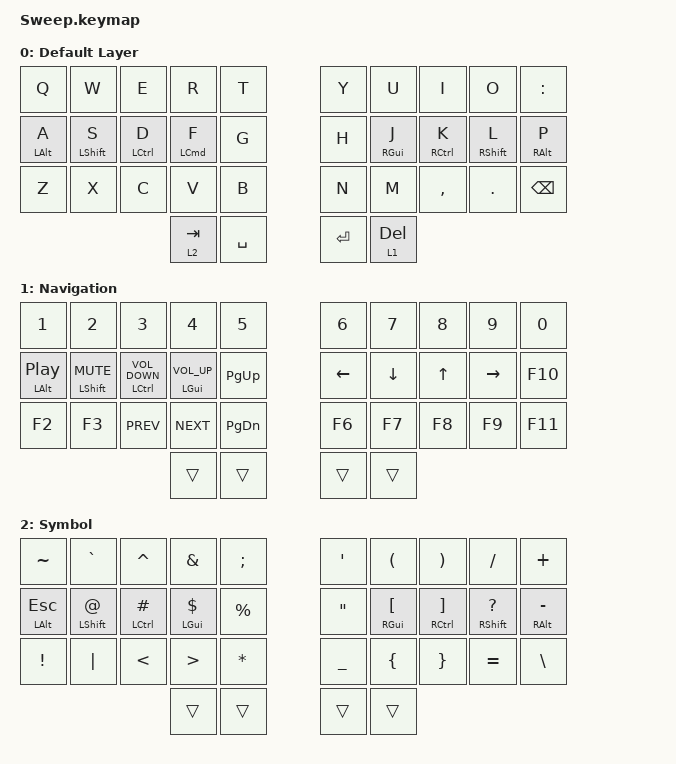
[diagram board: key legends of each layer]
/*
 * Copyright (c) 2020 The ZMK Contributors
 *
 * SPDX-License-Identifier: MIT
 */

#include <input/processors.dtsi>
#include <zephyr/dt-bindings/input/input-event-codes.h>
#include <dt-bindings/zmk/mouse.h>
#include <behaviors/mouse_keys.dtsi>
#include <behaviors.dtsi>
#include <dt-bindings/zmk/keys.h>
#include <dt-bindings/zmk/pointing.h>

#define ZMK_POINTING_DEFAULT_MOVE_VAL 1200  // 600
#define ZMK_POINTING_DEFAULT_SCRL_VAL 900   // mousescroll SPEED

&mmv_input_listener { input-processors = <&zip_xy_scaler 2 1>; };

&msc_input_listener { input-processors = <&zip_scroll_scaler 2 1>; };

&msc {
    acceleration-exponent = <1>;      // 0
    time-to-max-speed-ms = <100>;       // 300
    delay-ms = <0>;                   // 0
};

&mmv {
    time-to-max-speed-ms = <500>;
    acceleration-exponent = <1>;
    trigger-period-ms = <16>;
};

&soft_off {
    hold-time-ms = <3000>; // Only turn off it the key is held for 3 seconds or longer.
};

&mt {
    tapping-term-ms = <300>;
    flavor = "tap-preferred";
};

&lt { tapping-term-ms = <300>; };

/ {
    behaviors {
        Scroll_D_U: Scroll_D_U {
            compatible = "zmk,behavior-sensor-rotate";
            label = "SCROLL_D_U";
            #sensor-binding-cells = <0>;
            bindings = <&msc SCRL_DOWN>, <&msc SCRL_UP>;

            tap-ms = <20>;
        };

        TD01: TD01 {
            compatible = "zmk,behavior-tap-dance";
            label = "TD01";
            #binding-cells = <0>;
            bindings = <&kp MINUS>, <&kp PERIOD>;
        };

        Scroll_U_D: Scroll_U_D {
            compatible = "zmk,behavior-sensor-rotate";
            label = "SCROLL_U_D";
            #sensor-binding-cells = <0>;
            bindings = <&msc SCRL_UP>, <&msc SCRL_DOWN>;

            tap-ms = <20>;
        };

        Scroll_LR: Scroll_LR {
            compatible = "zmk,behavior-sensor-rotate";
            label = "SCROLL_LR";
            #sensor-binding-cells = <0>;
            bindings = <&msc SCRL_LEFT>, <&msc SCRL_RIGHT>;

            tap-ms = <20>;
        };

        Scroll_RL: Scroll_RL {
            compatible = "zmk,behavior-sensor-rotate";
            label = "SCROLL_RL";
            #sensor-binding-cells = <0>;
            bindings = <&msc SCRL_RIGHT>, <&msc SCRL_LEFT>;

            tap-ms = <20>;
        };

        mouse_DU: mouse_DU {
            compatible = "zmk,behavior-sensor-rotate";
            label = "MOUSE_DU";
            #sensor-binding-cells = <0>;
            bindings = <&mmv MOVE_DOWN>, <&mmv MOVE_UP>;
        };

        mouse_RL: mouse_RL {
            compatible = "zmk,behavior-sensor-rotate";
            label = "MOUSE_RL";
            #sensor-binding-cells = <0>;
            bindings = <&mmv MOVE_RIGHT>, <&mmv MOVE_LEFT>;
        };

        homerow_mods: homerow_mods {
            compatible = "zmk,behavior-hold-tap";
            label = "HOMEROW_MODS";
            bindings = <&kp>, <&kp>;

            #binding-cells = <2>;
            tapping-term-ms = <200>;
            flavor = "tap-preferred";
        };

        layout_homerow: layout_homerow {
            compatible = "zmk,behavior-hold-tap";
            label = "LAYOUT_HOMEROW";
            bindings = <&mo>, <&kp>;

            #binding-cells = <2>;
            tapping-term-ms = <200>;
        };
    };

    keymap {
        compatible = "zmk,keymap";

        default_layer {
            display-name = "Default Layer";
            bindings = <
&kp Q                     &kp W                       &kp E                  &kp R                         &kp T      &kp Y       &kp U                     &kp I                          &kp O                        &kp COLON
&homerow_mods LEFT_ALT A  &homerow_mods LEFT_SHIFT S  &homerow_mods LCTRL D  &homerow_mods LEFT_COMMAND F  &kp G      &kp H       &homerow_mods RGUI J      &homerow_mods RIGHT_CONTROL K  &homerow_mods RIGHT_SHIFT L  &homerow_mods RIGHT_ALT P
&kp Z                     &kp X                       &kp C                  &kp V                         &kp B      &kp N       &kp M                     &kp COMMA                      &kp DOT                      &kp BACKSPACE
                                                                             &layout_homerow 2 TAB         &kp SPACE  &kp RETURN  &layout_homerow 1 DELETE
            >;
        };

        Navigation {
            display-name = "Navigation";
            bindings = <
&kp N1                               &kp N2                           &kp N3                                    &kp N4                          &kp N5         &kp N6    &kp N7    &kp N8  &kp N9     &kp N0
&homerow_mods LEFT_ALT C_PLAY_PAUSE  &homerow_mods LEFT_SHIFT K_MUTE  &homerow_mods LEFT_CONTROL C_VOLUME_DOWN  &homerow_mods LGUI C_VOLUME_UP  &kp PAGE_UP    &kp LEFT  &kp DOWN  &kp UP  &kp RIGHT  &kp F10
&kp F2                               &kp F3                           &kp C_PREV                                &kp C_NEXT                      &kp PAGE_DOWN  &kp F6    &kp F7    &kp F8  &kp F9     &kp F11
                                                                                                                &trans                          &trans         &trans    &trans
            >;

            label = "lower_layer";
        };

        Symbol {
            display-name = "Symbol";
            bindings = <
&kp TILDE                   &kp GRAVE                    &kp CARET                        &kp AMPERSAND              &kp SEMICOLON  &kp SQT            &kp LEFT_PARENTHESIS             &kp RIGHT_PARENTHESIS                      &kp SLASH                           &kp PLUS
&homerow_mods LEFT_ALT ESC  &homerow_mods LEFT_SHIFT AT  &homerow_mods LEFT_CONTROL HASH  &homerow_mods LGUI DOLLAR  &kp PERCENT    &kp DOUBLE_QUOTES  &homerow_mods RGUI LEFT_BRACKET  &homerow_mods RIGHT_CONTROL RIGHT_BRACKET  &homerow_mods RIGHT_SHIFT QUESTION  &homerow_mods RIGHT_ALT MINUS
&kp EXCLAMATION             &kp PIPE                     &kp LESS_THAN                    &kp GREATER_THAN           &kp ASTERISK   &kp UNDERSCORE     &kp LEFT_BRACE                   &kp RIGHT_BRACE                            &kp EQUAL                           &kp BACKSLASH
                                                                                          &trans                     &trans         &trans             &trans
            >;
        };
    };
};
